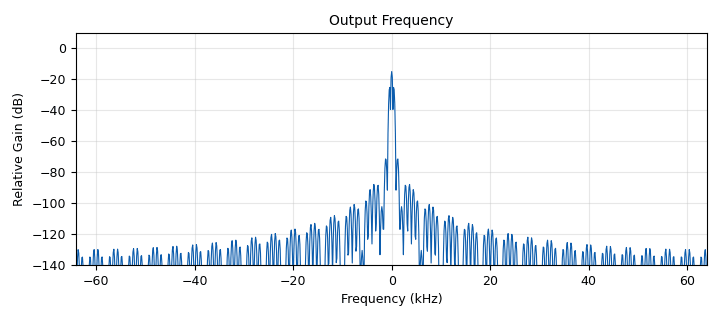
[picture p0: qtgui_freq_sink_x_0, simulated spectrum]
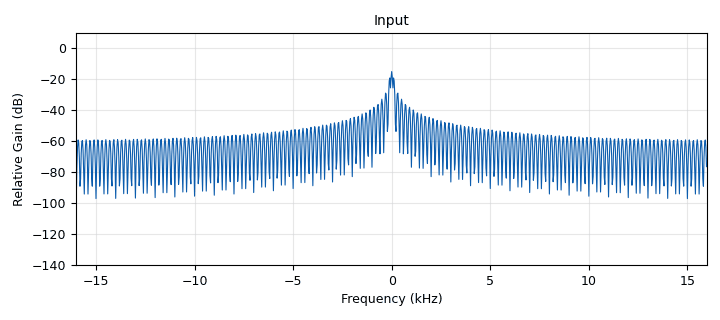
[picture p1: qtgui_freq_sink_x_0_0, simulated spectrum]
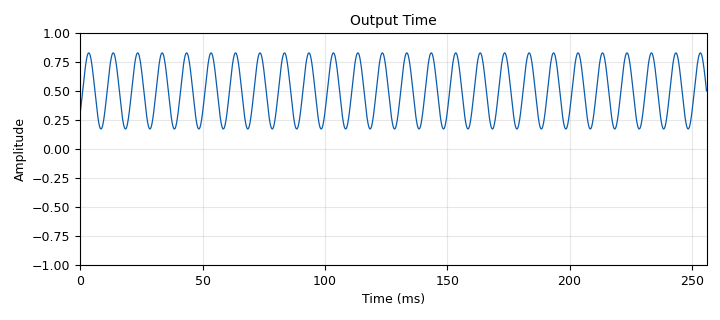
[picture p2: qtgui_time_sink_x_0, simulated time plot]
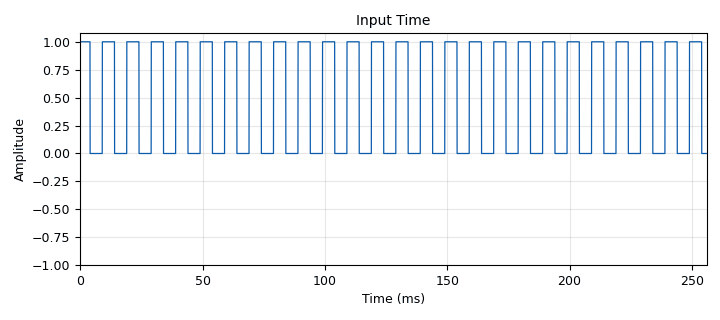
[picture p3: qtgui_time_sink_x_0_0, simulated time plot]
<?xml version='1.0' encoding='utf-8'?>
<?grc format='1' created='3.7.11'?>
<flow_graph>
<block>
<key>options</key>
<param><key>id</key><value>top_block</value></param>
<param><key>generate_options</key><value>qt_gui</value></param>
</block>
<block>
<key>variable</key>
<param><key>id</key><value>samp_rate</value></param>
<param><key>value</key><value>32000</value></param>
</block>
<block>
<key>analog_noise_source_x</key>
<param><key>id</key><value>analog_noise_source_x_0</value></param>
<param><key>amp</key><value>0</value></param>
<param><key>noise_type</key><value>analog.GR_GAUSSIAN</value></param>
<param><key>type</key><value>float</value></param>
<param><key>seed</key><value>0</value></param>
</block>
<block>
<key>analog_sig_source_x</key>
<param><key>id</key><value>analog_sig_source_x_0</value></param>
<param><key>amp</key><value>1</value></param>
<param><key>freq</key><value>100</value></param>
<param><key>offset</key><value>0</value></param>
<param><key>type</key><value>float</value></param>
<param><key>samp_rate</key><value>samp_rate</value></param>
<param><key>waveform</key><value>analog.GR_SQR_WAVE</value></param>
</block>
<block>
<key>blocks_add_xx</key>
<param><key>id</key><value>blocks_add_xx_0</value></param>
<param><key>type</key><value>float</value></param>
</block>
<block>
<key>blocks_throttle</key>
<param><key>id</key><value>blocks_throttle_0</value></param>
<param><key>samples_per_second</key><value>samp_rate</value></param>
<param><key>type</key><value>float</value></param>
</block>
<block>
<key>fir_filter_xxx</key>
<param><key>id</key><value>fir_filter_xxx_0</value></param>
<param><key>decim</key><value>1</value></param>
<param><key>taps</key><value>firwin(numtaps=2048, cutoff=100, width=10, pass_zero=True, scale=True, nyq=0.5*samp_rate)</value></param>
<param><key>type</key><value>fff</value></param>
</block>
<block>
<key>import</key>
<param><key>id</key><value>import_0</value></param>
<param><key>import</key><value>from scipy.signal import firwin</value></param>
</block>
<block>
<key>qtgui_freq_sink_x</key>
<param><key>id</key><value>qtgui_freq_sink_x_0</value></param>
<param><key>bw</key><value>samp_rate*4</value></param>
<param><key>fc</key><value>0</value></param>
<param><key>fftsize</key><value>1024</value></param>
<param><key>name</key><value>Output Frequency</value></param>
<param><key>showports</key><value>True</value></param>
<param><key>type</key><value>float</value></param>
<param><key>wintype</key><value>firdes.WIN_BLACKMAN_hARRIS</value></param>
</block>
<block>
<key>qtgui_freq_sink_x</key>
<param><key>id</key><value>qtgui_freq_sink_x_0_0</value></param>
<param><key>bw</key><value>samp_rate</value></param>
<param><key>fc</key><value>0</value></param>
<param><key>fftsize</key><value>1024</value></param>
<param><key>name</key><value>Input</value></param>
<param><key>showports</key><value>True</value></param>
<param><key>type</key><value>float</value></param>
<param><key>wintype</key><value>firdes.WIN_BLACKMAN_hARRIS</value></param>
</block>
<block>
<key>qtgui_time_sink_x</key>
<param><key>id</key><value>qtgui_time_sink_x_0</value></param>
<param><key>color1</key><value>"blue"</value></param>
<param><key>label1</key><value></value></param>
<param><key>name</key><value>Output Time</value></param>
<param><key>size</key><value>1024*8</value></param>
<param><key>srate</key><value>samp_rate</value></param>
<param><key>type</key><value>float</value></param>
</block>
<block>
<key>qtgui_time_sink_x</key>
<param><key>id</key><value>qtgui_time_sink_x_0_0</value></param>
<param><key>color1</key><value>"blue"</value></param>
<param><key>label1</key><value></value></param>
<param><key>name</key><value>Input Time</value></param>
<param><key>size</key><value>1024*8</value></param>
<param><key>srate</key><value>samp_rate</value></param>
<param><key>type</key><value>float</value></param>
</block>
<connection><source_block_id>analog_noise_source_x_0</source_block_id><sink_block_id>blocks_add_xx_0</sink_block_id><source_key>0</source_key><sink_key>0</sink_key></connection>
<connection><source_block_id>analog_sig_source_x_0</source_block_id><sink_block_id>blocks_throttle_0</sink_block_id><source_key>0</source_key><sink_key>0</sink_key></connection>
<connection><source_block_id>blocks_add_xx_0</source_block_id><sink_block_id>qtgui_freq_sink_x_0</sink_block_id><source_key>0</source_key><sink_key>0</sink_key></connection>
<connection><source_block_id>blocks_add_xx_0</source_block_id><sink_block_id>qtgui_time_sink_x_0</sink_block_id><source_key>0</source_key><sink_key>0</sink_key></connection>
<connection><source_block_id>blocks_throttle_0</source_block_id><sink_block_id>fir_filter_xxx_0</sink_block_id><source_key>0</source_key><sink_key>0</sink_key></connection>
<connection><source_block_id>blocks_throttle_0</source_block_id><sink_block_id>qtgui_freq_sink_x_0_0</sink_block_id><source_key>0</source_key><sink_key>0</sink_key></connection>
<connection><source_block_id>blocks_throttle_0</source_block_id><sink_block_id>qtgui_time_sink_x_0_0</sink_block_id><source_key>0</source_key><sink_key>0</sink_key></connection>
<connection><source_block_id>fir_filter_xxx_0</source_block_id><sink_block_id>blocks_add_xx_0</sink_block_id><source_key>0</source_key><sink_key>1</sink_key></connection>
</flow_graph>
